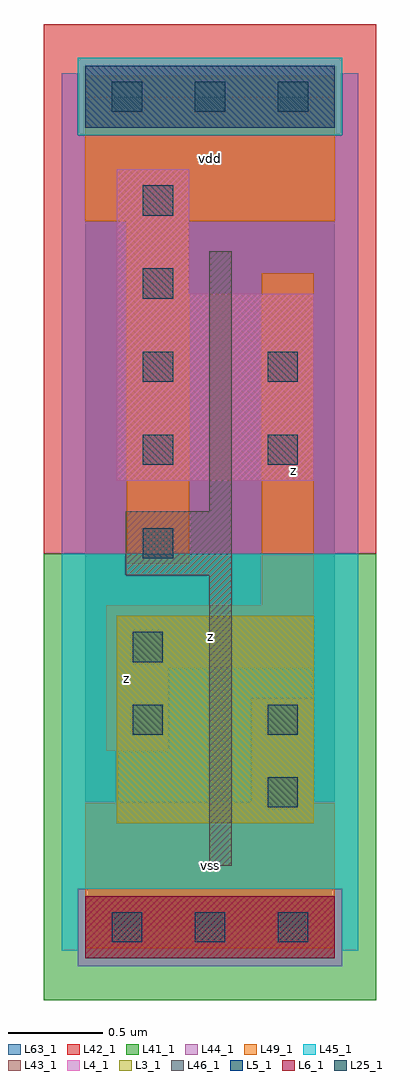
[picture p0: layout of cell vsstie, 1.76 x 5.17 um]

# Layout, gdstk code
import gdstk
lib = gdstk.Library(unit=1e-6, precision=1e-09)
def R(c, l, rs):  # rectangles x0, y0, x1, y1
    for r in rs: c.add(gdstk.rectangle(r[:2], r[2:], *l))
def A(c, l, x, y, w, h, nx, ny, dx, dy):  # array of equal rectangles
    R(c, l, [(x+i*dx, y+j*dy, x+i*dx+w, y+j*dy+h) for i in range(nx) for j in range(ny)])
L3_1 = (3, 1)
L4_1 = (4, 1)
L5_1 = (5, 1)
L6_1 = (6, 1)
L25_1 = (25, 1)
L41_1 = (41, 1)
L42_1 = (42, 1)
L43_1 = (43, 1)
L44_1 = (44, 1)
L45_1 = (45, 1)
L46_1 = (46, 1)
L49_1 = (49, 1)
L63_1 = (63, 1)

vsstie = lib.new_cell('vsstie')
R(vsstie, L3_1, [(0.165,0.55,1.21,1.65)])
R(vsstie, L4_1, [(0.165,2.365,1.21,3.355), (0.165,3.355,0.55,4.015)])
R(vsstie, L5_1, [(0,4.235,1.32,4.565)])
R(vsstie, L6_1, [(0,-0.165,1.32,0.165)])
A(vsstie, L25_1, 0.14, -0.08, 0.16, 0.16, 3, 2, 0.44, 4.4)
A(vsstie, L25_1, 0.305, 2.45, 0.16, 0.16, 1, 4, 0, 0.44)
R(vsstie, L25_1, [(0.965,0.635,1.125,0.795), (0.25,1.02,0.41,1.18), (0.965,1.02,1.125,1.18), (0.25,1.405,0.41,1.565), (0.305,1.955,0.465,2.115), (0.965,2.45,1.125,2.61), (0.965,2.89,1.125,3.05)])
R(vsstie, L41_1, [(-0.22,-0.385,1.54,1.98)])
R(vsstie, L42_1, [(-0.22,1.98,1.54,4.785)])
R(vsstie, L43_1, [(0,-0.165,1.32,0.165), (0.165,0.55,1.21,1.65), (0.165,2.365,1.21,3.355), (0.165,3.355,0.55,4.015), (0,4.235,1.32,4.565)])
R(vsstie, L44_1, [(-0.04,-0.205,1.36,0.205), (-0.125,1.98,1.445,4.195), (-0.125,4.195,-0.04,4.525), (1.36,4.195,1.445,4.525)])
R(vsstie, L45_1, [(-0.125,-0.125,-0.04,0.205), (1.36,-0.125,1.445,0.205), (-0.125,0.205,1.445,1.98), (-0.04,4.195,1.36,4.605)])
R(vsstie, L46_1, [(0.655,0.325,0.775,1.865), (0.215,1.865,0.775,2.205), (0.655,2.205,0.775,3.58)])
R(vsstie, L49_1, [(0,-0.11,1.32,0.66), (0.88,0.66,1.21,1.21), (0.11,0.935,0.44,1.375), (0.11,1.375,1.21,1.705), (0.935,1.705,1.21,3.465), (0.22,1.925,0.55,3.74), (0,3.74,1.32,4.51)])
R(vsstie, L63_1, [(0,0,1.32,4.4)])
vsstie.add(gdstk.Label('z', (0.22,1.32), layer=49, texttype=1))
vsstie.add(gdstk.Label('vss', (0.66,0.33), layer=49, texttype=1))
vsstie.add(gdstk.Label('z', (0.66,1.54), layer=49, texttype=1))
vsstie.add(gdstk.Label('vdd', (0.66,4.07), layer=49, texttype=1))
vsstie.add(gdstk.Label('z', (1.1,2.42), layer=49, texttype=1))

lib.write_gds('vsstie.gds')
